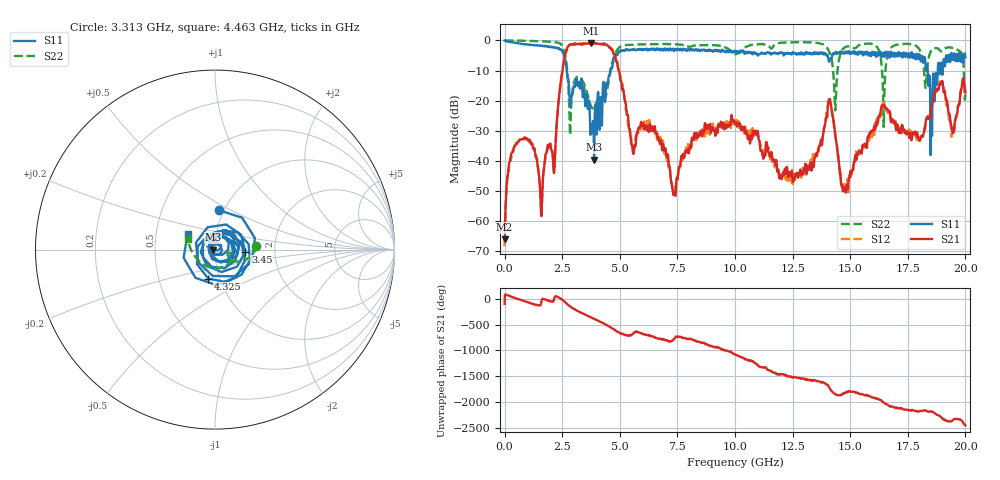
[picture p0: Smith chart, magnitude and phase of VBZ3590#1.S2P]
!Agilent Technologies,E5071C,MY46215201,A.10.06
!Date: Mon Nov 18 15:36:42 2019
!Data & Calibration Information:
!Freq	S11:SOLT2(ON)	S21:SOLT2(ON)	S12:SOLT2(ON)	S22:SOLT2(ON)
!PortZ  Port1:50+j0  Port2:50+j0
!Above PortZ is port z conversion or system Z0 setting when saving the data.
!When reading, reference impedance value at option line is always used.
# Hz S dB R 50
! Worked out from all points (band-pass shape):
!   1601 points, 300 kHz to 20 GHz, reference 50 ohm
!   highest |S21| = -0.87 dB at 3.75 GHz (marker M1); lowest = -66.2 dB at 300 kHz (marker M2)
!   |S21| within 3 dB of the highest: 2.66 GHz to 4.708 GHz (2.048 GHz wide, 55.6 % of centre)
!   lowest |S11| = -39.7 dB at 3.888 GHz (marker M3), VSWR 1.02, Z = 49 + j0.042 ohm
!   |S11| at or under -10 dB: 2.695 GHz to 4.593 GHz (1.898 GHz wide, 52.1 % of centre); 18.36 GHz to 18.8 GHz (438.6 MHz wide, 2.36 % of centre); 18.87209 GHz to 18.90558 GHz (33.48 MHz wide, 0.177 % of centre)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
!   |S22| runs from -31.5 to 0.0 dB; largest |S21 - S12| = 0.088
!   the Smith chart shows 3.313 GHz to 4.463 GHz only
!   S11 on the Smith chart (normalised r, x): 3.313 GHz: 0.95, +0.44; 3.45 GHz: 1.41, -0.03; 4.325 GHz: 0.88, -0.29; 4.463 GHz: 0.73, +0.13
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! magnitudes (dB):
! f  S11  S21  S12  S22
! 300 kHz  0.0  -66.2  -68.4  0.0
! 612.8 MHz  -1.0  -33.5  -33.5  -0.1
! 1.613 GHz  -1.7  -56.0  -55.5  -0.3
! 2.65 GHz  -6.8  -4.1  -3.9  -5.8
! 2.863 GHz  -21.7  -1.3  -1.3  -26.9
! 3.313 GHz  -13.1  -1.4  -1.1  -12.7
! 3.338 GHz  -12.7  -1.3  -1.2  -12.9
! 3.45 GHz  -15.4  -1.1  -1.1  -14.5
! 3.75 GHz  -28.4  -0.9  -0.9  -21.9
! 3.888 GHz  -39.7  -0.9  -1.0  -22.1
! 4.325 GHz  -15.6  -1.0  -1.1  -19.6
! 4.463 GHz  -15.1  -1.7  -1.6  -15.9
! 5.575 GHz  -3.0  -37.3  -36.7  -1.4
! 6.675 GHz  -3.1  -32.3  -32.0  -1.2
! 7.35 GHz  -3.5  -51.2  -50.7  -1.3
! 10 GHz  -3.4  -27.6  -27.7  -4.5
! 13.34 GHz  -4.3  -42.1  -40.7  -0.7
! 14.1 GHz  -6.9  -19.5  -20.8  -4.0
! 14.75 GHz  -4.4  -48.9  -48.5  -2.4
! 16.68 GHz  -4.6  -23.6  -24.8  -3.5
! 18.58 GHz  -16.6  -20.8  -19.5  -2.9
! 20 GHz  -5.6  -17.4  -18.0  -17.3
